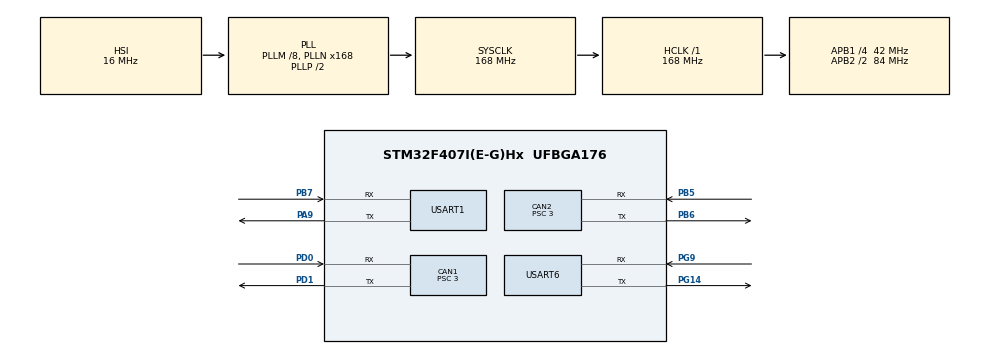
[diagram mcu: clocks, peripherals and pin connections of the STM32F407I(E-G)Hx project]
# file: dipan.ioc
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CAN1.BS1=CAN_BS1_10TQ
CAN1.BS2=CAN_BS2_3TQ
CAN1.CalculateBaudRate=1000000
CAN1.CalculateTimeBit=1000
CAN1.CalculateTimeQuantum=71.42857142857143
CAN1.Prescaler=3
CAN2.BS1=CAN_BS1_10TQ
CAN2.BS2=CAN_BS2_3TQ
CAN2.CalculateBaudRate=1000000
CAN2.CalculateTimeBit=1000
CAN2.CalculateTimeQuantum=71.42857142857143
CAN2.Prescaler=3
FREERTOS.INCLUDE_vTaskDelayUntil=1
FREERTOS.Tasks01=defaultTask,0,128,StartDefaultTask,Default,NULL,Dynamic,NULL,NULL
FREERTOS.configUSE_TIMERS=1
Mcu.Family=STM32F4
Mcu.Name=STM32F407I(E-G)Hx
Mcu.Package=UFBGA176
NVIC.CAN1_RX0_IRQn=true\:5\:0\:false\:false\:true\:true\:true\:true\:true
NVIC.CAN2_RX0_IRQn=true\:5\:0\:false\:false\:true\:true\:true\:true\:true
NVIC.PriorityGroup=NVIC_PRIORITYGROUP_4
NVIC.TIM1_UP_TIM10_IRQn=true\:15\:0\:false\:false\:true\:false\:false\:true\:true
NVIC.TimeBase=TIM1_UP_TIM10_IRQn
NVIC.TimeBaseIP=TIM1
NVIC.USART1_IRQn=true\:5\:0\:true\:false\:true\:true\:true\:true\:true
NVIC.USART6_IRQn=true\:5\:0\:false\:false\:true\:true\:true\:true\:true
PA13.Mode=Serial_Wire
PA13.Signal=SYS_JTMS-SWDIO
PA14.Mode=Serial_Wire
PA14.Signal=SYS_JTCK-SWCLK
PA9.Mode=Asynchronous
PA9.Signal=USART1_TX
PB5.Mode=CAN_Activate
PB5.Signal=CAN2_RX
PB6.Mode=CAN_Activate
PB6.Signal=CAN2_TX
PB7.Mode=Asynchronous
PB7.Signal=USART1_RX
PC14-OSC32_IN.Mode=LSE-External-Oscillator
PC14-OSC32_IN.Signal=RCC_OSC32_IN
PC15-OSC32_OUT.Mode=LSE-External-Oscillator
PC15-OSC32_OUT.Signal=RCC_OSC32_OUT
PD0.Mode=CAN_Activate
PD0.Signal=CAN1_RX
PD1.Mode=CAN_Activate
PD1.Signal=CAN1_TX
PG14.Mode=Asynchronous
PG14.Signal=USART6_TX
PG9.Mode=Asynchronous
PG9.Signal=USART6_RX
PH0-OSC_IN.Mode=HSE-External-Oscillator
PH0-OSC_IN.Signal=RCC_OSC_IN
PH1-OSC_OUT.Mode=HSE-External-Oscillator
PH1-OSC_OUT.Signal=RCC_OSC_OUT
ProjectManager.HeapSize=0x200
ProjectManager.StackSize=0x400
ProjectManager.TargetToolchain=MDK-ARM V5.32
RCC.48MHZClocksFreq_Value=84000000
RCC.AHBFreq_Value=168000000
RCC.APB1CLKDivider=RCC_HCLK_DIV4
RCC.APB1Freq_Value=42000000
RCC.APB1TimFreq_Value=84000000
RCC.APB2CLKDivider=RCC_HCLK_DIV2
RCC.APB2Freq_Value=84000000
RCC.APB2TimFreq_Value=168000000
RCC.CortexFreq_Value=168000000
RCC.HCLKFreq_Value=168000000
RCC.HSE_VALUE=25000000
RCC.HSI_VALUE=16000000
RCC.PLLM=8
RCC.PLLN=168
RCC.SYSCLKFreq_VALUE=168000000
RCC.SYSCLKSource=RCC_SYSCLKSOURCE_PLLCLK
RCC.VCOOutputFreq_Value=336000000
USART1.VirtualMode=VM_ASYNC
USART6.VirtualMode=VM_ASYNC
VP_FREERTOS_VS_CMSIS_V1.Mode=CMSIS_V1
VP_SYS_VS_tim1.Mode=TIM1
board=custom

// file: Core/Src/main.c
/* USER CODE BEGIN Header */
/**
 ******************************************************************************
 * @file           : main.c
 * @brief          : Main program body
 ******************************************************************************
 * @attention
 *
 * Copyright (c) 2024 STMicroelectronics.
 * All rights reserved.
 *
 * This software is licensed under terms that can be found in the LICENSE file
 * in the root directory of this software component.
 * If no LICENSE file comes with this software, it is provided AS-IS.
 *
 ******************************************************************************
 */
/* USER CODE END Header */
#include "main.h"
#include "cmsis_os.h"
#include "can.h"
#include "usart.h"
#include "gpio.h"

/* USER CODE BEGIN Includes */
#include "bsp_can.h"
#include "CAN_receive.h"
#include "mytask.h"
/* USER CODE END Includes */

void SystemClock_Config(void);
void MX_FREERTOS_Init(void);

/* USER CODE BEGIN 0 */
// 在文件开头添加新的变量和队列定义
typedef struct
{
  int16_t x;
  int16_t y;
  int16_t yaw;
} MoveCommand_t;

// 声明消息队列句柄
QueueHandle_t moveCommandQueue;
// 或使用CMSIS-RTOS队列
// osMessageQId moveCommandQueue;

const motor_measure_t *ID_201_data;
uint8_t rxbuff_usart1;
uint8_t rxbuff_usart6;
uint8_t data_usart1[11];
uint8_t data_usart6[10];
uint8_t sum = 0;
uint16_t YawL, YawH;
uint16_t Cam_X_H, Cam_Y_H, Cam_X_L, Cam_Y_L;
uint8_t set_baudrate_115200[] = {0xFF, 0xAA, 0x04, 0x06, 0x00};
uint8_t reset_z_axis[] = {0xFF, 0xAA, 0x76, 0x00, 0x00};

int16_t yaw_pos;

extern float tar_angle;
/**
 * @brief 串口接收完成回调函数
 *
 * 当UART接收完成时，该函数将被调用。函数处理来自USART1和USART6的数据。
 * USART1用于接收姿态传感器数据（可能是IMU/陀螺仪），数据格式为55 53 ... 和校验和
 * USART6用于接收摄像头数据，包括坐标和颜色识别信息
 *
 * @param huart 指向触发回调的UART句柄
 */
extern void HAL_UART_RxCpltCallback(UART_HandleTypeDef *huart)
{
  // 静态变量用于跟踪每个UART接口的数据接收索引位置
  static uint8_t usart1_i = 0; // USART1数据接收计数器
  static uint8_t usart6_i = 0; // USART6数据接收计数器

  // 处理来自USART1的数据（姿态传感器数据）
  if (huart->Instance == USART1)
  {
    // 将接收到的字节存入数据缓冲区
    data_usart1[usart1_i++] = rxbuff_usart1;

    // 帧头第一字节检查 - 必须是0x55
    if (usart1_i == 1)
      if (data_usart1[0] != 0x55)
      {
        data_usart1[0] = 0; // 重置数据
        usart1_i = 0;       // 重置计数器
      }

    // 帧头第二字节检查 - 必须是0x53
    if (usart1_i == 2)
      if (data_usart1[1] != 0x53)
        usart1_i = 0; // 帧头错误，重置计数器

    // 当接收到完整的11字节数据包时，进行处理
    if (usart1_i == 11)
    {
      // 计算前10个字节的校验和
      for (uint8_t i = 0; i < 10; i++)
        sum += data_usart1[i];

      // 校验和验证
      if (sum == data_usart1[10])
      {
        // 提取偏航角数据（Yaw）
        YawL = data_usart1[6];    // Yaw角低字节
        YawH = data_usart1[7];    // Yaw角高字节
        yaw = (YawH << 8 | YawL); // 合并为16位数值
        yaw = yaw / 32768 * 180;  // 转换为角度值（-180到+180度范围）
      }

      // 重置计数器和校验和，准备接收下一个数据包
      usart1_i = 0;
      sum = 0;
    }

    // 继续启用USART1中断接收，等待下一个字节
    HAL_UART_Receive_IT(&huart1, &rxbuff_usart1, 1);
  }

  // 处理来自USART6的数据（摄像头数据）
  if (huart->Instance == USART6)
  {
    // 将接收到的字节存入数据缓冲区
    data_usart6[usart6_i++] = rxbuff_usart6;

    // 帧头检查 - 第一字节必须是0xFF
    if (usart6_i == 1)
    {
      if (data_usart6[0] != 0xFF)
      {
        data_usart6[0] = 0; // 重置数据
        usart6_i = 0;       // 重置计数器
      }
    }

    // 数据类型检查 - 如果第二字节为0x10，放弃该数据包
    if (usart6_i == 3)
    {
      if (data_usart6[1] == 0x10)
      {
        usart6_i = 0; // 重置计数器，放弃此数据包
      }
    }

    // 处理坐标数据 - 当收到完整的10字节且不是颜色序列或特殊数据包
    if (usart6_i == 10)
    {
      if (data_usart6[1] == 0x01)
      {
        if (data_usart6[2] == 0x01) // 位置环
        {
          mode_switch(1); // 切换到位置环控制模式
          // 提取X坐标数据
          // Extract X position values (bytes 3-6)
          uint16_t x_raw = (data_usart6[3] << 8) | data_usart6[4];
          int16_t x_pos = (int16_t)x_raw; // Convert to signed integer if needed

          // Extract Y position values (bytes 5-8)
          uint16_t y_raw = (data_usart6[5] << 8) | data_usart6[6];
          int16_t y_pos = (int16_t)y_raw; // Convert to signed integer if needed

          // Extract yaw position/angle (bytes 7-8)
          uint16_t yaw_raw = (data_usart6[7] << 8) | data_usart6[8];
          yaw_pos += (int16_t)yaw_raw;           // Convert to signed integer if needed
          move_set_interrupt(x_pos, y_pos, yaw_pos, 1); // 设置运动目标
        }
        else if (data_usart6[2] == 0x00) // 速度环
        {
          mode_switch(0); // 切换到速度环控制模式
          // Extract vx values (bytes 3-4)
          uint16_t vx_raw = (data_usart6[3] << 8) | data_usart6[4];
          int16_t vx = (int16_t)vx_raw; // Convert to signed integer if needed

          // Extract vy values (bytes 5-6)
          uint16_t vy_raw = (data_usart6[5] << 8) | data_usart6[6];
          int16_t vy = (int16_t)vy_raw; // Convert to signed integer if needed

          // Extract vyaw values (bytes 7-8)
          uint16_t vyaw_raw = (data_usart6[7] << 8) | data_usart6[8];
          int16_t vyaw = (int16_t)vyaw_raw; // Convert to signed integer if needed

          // Update global control variables
          target_vx = vx;
          target_vy = vy;
          target_vyaw = vyaw;
        }
      }
      else if (data_usart6[1] == 0x02 && data_usart6[2] == 0x01) // 控制机械臂无刷电机
      {
                // Extract high and low bytes for brushless motor control
        uint16_t brushless_h = data_usart6[3];
        uint16_t brushless_l = data_usart6[4];

        // Combine high and low bytes to form target angle
        // First cast to int16_t if you need to handle negative values
        int16_t angle_raw = (int16_t)((brushless_h << 8) | brushless_l);
        tar_angle = (float)angle_raw;  // Explicit conversion to float

        // Apply limits
        if (tar_angle > 500.0f)
        {
           tar_angle = 500.0f;
        }
        else if (tar_angle < 0.0f)
        {
           tar_angle = 0.0f;
        }

        // tar_angle += 5; //测试机械臂极限
      }

      usart6_i = 0; // 重置计数器，准备接收下一个数据包
    }

    // // 处理颜色序列数据 - 当收到完整的10字节且是颜色数据包
    // if(usart6_i == 10 && data_usart6[1] == 0x01 && data_usart6[2] != 0x00)
    // {
    //     // 提取6种颜色的序列数据
    //     color_shunxu[0] = data_usart6[2];
    //     color_shunxu[1] = data_usart6[3];
    //     color_shunxu[2] = data_usart6[4];
    //     color_shunxu[4] = data_usart6[6];  // 注意：索引4和3顺序与数据包中的顺序不同
    //     color_shunxu[3] = data_usart6[5];
    //     color_shunxu[5] = data_usart6[7];

    //     usart6_i = 0;  // 重置计数器，准备接收下一个数据包
    // }

    // 安全检查 - 如果接收的数据超过10字节，重置计数器
    if (usart6_i > 10)
      usart6_i = 0;

    // 继续启用USART6中断接收，等待下一个字节
    HAL_UART_Receive_IT(&huart6, &rxbuff_usart6, 1);
  }
}

/* USER CODE END 0 */

int main(void)
{

  /* MCU Configuration--------------------------------------------------------*/

  /* Reset of all peripherals, Initializes the Flash interface and the Systick. */
  HAL_Init();

  /* Configure the system clock */
  SystemClock_Config();

  /* Initialize all configured peripherals */
  MX_GPIO_Init();
  MX_CAN1_Init();
  MX_CAN2_Init();
  MX_USART1_UART_Init();
  MX_USART6_UART_Init();
  /* USER CODE BEGIN 2 */
  can_filter_init();

  HAL_UART_Transmit(&huart1, reset_z_axis, 5, 50);
  HAL_UART_Receive_IT(&huart1, &rxbuff_usart1, 1);
  HAL_UART_Receive_IT(&huart6, &rxbuff_usart6, 1);
  ID_201_data = get_chassis_motor_measure_point(0);
  /* USER CODE END 2 */

  /* Call init function for freertos objects (in freertos.c) */
  MX_FREERTOS_Init();

  /* Start scheduler */
  osKernelStart();

  /* We should never get here as control is now taken by the scheduler */
  /* Infinite loop */
  while (1)
  {

  }
}

void SystemClock_Config(void)
{
  RCC_OscInitTypeDef RCC_OscInitStruct = {0};
  RCC_ClkInitTypeDef RCC_ClkInitStruct = {0};

  /** Configure the main internal regulator output voltage
   */
  __HAL_RCC_PWR_CLK_ENABLE();
  __HAL_PWR_VOLTAGESCALING_CONFIG(PWR_REGULATOR_VOLTAGE_SCALE1);

  /** Initializes the RCC Oscillators according to the specified parameters
   * in the RCC_OscInitTypeDef structure.
   */
  RCC_OscInitStruct.OscillatorType = RCC_OSCILLATORTYPE_HSI;
  RCC_OscInitStruct.HSIState = RCC_HSI_ON;
  RCC_OscInitStruct.HSICalibrationValue = RCC_HSICALIBRATION_DEFAULT;
  RCC_OscInitStruct.PLL.PLLState = RCC_PLL_ON;
  RCC_OscInitStruct.PLL.PLLSource = RCC_PLLSOURCE_HSI;
  RCC_OscInitStruct.PLL.PLLM = 8;
  RCC_OscInitStruct.PLL.PLLN = 168;
  RCC_OscInitStruct.PLL.PLLP = RCC_PLLP_DIV2;
  RCC_OscInitStruct.PLL.PLLQ = 4;
  if (HAL_RCC_OscConfig(&RCC_OscInitStruct) != HAL_OK)
  {
    Error_Handler();
  }

  /** Initializes the CPU, AHB and APB buses clocks
   */
  RCC_ClkInitStruct.ClockType = RCC_CLOCKTYPE_HCLK | RCC_CLOCKTYPE_SYSCLK | RCC_CLOCKTYPE_PCLK1 | RCC_CLOCKTYPE_PCLK2;
  RCC_ClkInitStruct.SYSCLKSource = RCC_SYSCLKSOURCE_PLLCLK;
  RCC_ClkInitStruct.AHBCLKDivider = RCC_SYSCLK_DIV1;
  RCC_ClkInitStruct.APB1CLKDivider = RCC_HCLK_DIV4;
  RCC_ClkInitStruct.APB2CLKDivider = RCC_HCLK_DIV2;

  if (HAL_RCC_ClockConfig(&RCC_ClkInitStruct, FLASH_LATENCY_5) != HAL_OK)
  {
    Error_Handler();
  }
}

void HAL_TIM_PeriodElapsedCallback(TIM_HandleTypeDef *htim)
{
  if (htim->Instance == TIM1)
  {
    HAL_IncTick();
  }
}

void Error_Handler(void)
{
  __disable_irq();
  while (1)
  {
  }
}

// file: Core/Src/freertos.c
/* USER CODE BEGIN Header */
/**
 ******************************************************************************
 * File Name          : freertos.c
 * Description        : Code for freertos applications
 ******************************************************************************
 * @attention
 *
 * Copyright (c) 2024 STMicroelectronics.
 * All rights reserved.
 *
 * This software is licensed under terms that can be found in the LICENSE file
 * in the root directory of this software component.
 * If no LICENSE file comes with this software, it is provided AS-IS.
 *
 ******************************************************************************
 */
/* USER CODE END Header */

#include "FreeRTOS.h"
#include "task.h"
#include "main.h"
#include "cmsis_os.h"

/* USER CODE BEGIN Includes */
#include "mytask.h"
/* USER CODE END Includes */

/* USER CODE BEGIN PTD */

osThreadId motor_handle;
osThreadId gimbal_handle;
osThreadId main_handle;

/* USER CODE END PTD */

osThreadId defaultTaskHandle;

void StartDefaultTask(void const *argument);

void MX_FREERTOS_Init(void); /* (MISRA C 2004 rule 8.1) */

/* GetIdleTaskMemory prototype (linked to static allocation support) */
void vApplicationGetIdleTaskMemory(StaticTask_t **ppxIdleTaskTCBBuffer, StackType_t **ppxIdleTaskStackBuffer, uint32_t *pulIdleTaskStackSize);

/* GetTimerTaskMemory prototype (linked to static allocation support) */
void vApplicationGetTimerTaskMemory(StaticTask_t **ppxTimerTaskTCBBuffer, StackType_t **ppxTimerTaskStackBuffer, uint32_t *pulTimerTaskStackSize);

/* USER CODE BEGIN GET_IDLE_TASK_MEMORY */
static StaticTask_t xIdleTaskTCBBuffer;
static StackType_t xIdleStack[configMINIMAL_STACK_SIZE];

void vApplicationGetIdleTaskMemory(StaticTask_t **ppxIdleTaskTCBBuffer, StackType_t **ppxIdleTaskStackBuffer, uint32_t *pulIdleTaskStackSize)
{
  *ppxIdleTaskTCBBuffer = &xIdleTaskTCBBuffer;
  *ppxIdleTaskStackBuffer = &xIdleStack[0];
  *pulIdleTaskStackSize = configMINIMAL_STACK_SIZE;
  /* place for user code */
}
/* USER CODE END GET_IDLE_TASK_MEMORY */

/* USER CODE BEGIN GET_TIMER_TASK_MEMORY */
static StaticTask_t xTimerTaskTCBBuffer;
static StackType_t xTimerStack[configTIMER_TASK_STACK_DEPTH];

void vApplicationGetTimerTaskMemory(StaticTask_t **ppxTimerTaskTCBBuffer, StackType_t **ppxTimerTaskStackBuffer, uint32_t *pulTimerTaskStackSize)
{
  *ppxTimerTaskTCBBuffer = &xTimerTaskTCBBuffer;
  *ppxTimerTaskStackBuffer = &xTimerStack[0];
  *pulTimerTaskStackSize = configTIMER_TASK_STACK_DEPTH;
  /* place for user code */
}
/* USER CODE END GET_TIMER_TASK_MEMORY */

void MX_FREERTOS_Init(void)
{

  /* Create the thread(s) */
  /* definition and creation of defaultTask */
  osThreadDef(defaultTask, StartDefaultTask, osPriorityNormal, 0, 128);
  defaultTaskHandle = osThreadCreate(osThread(defaultTask), NULL);

  /* USER CODE BEGIN RTOS_THREADS */
  /* add threads, ... */

  osThreadDef(motor, motor_task, osPriorityHigh, 0, 256);
  motor_handle = osThreadCreate(osThread(motor), NULL);
  osThreadDef(main, main_task, osPriorityNormal, 0, 128);
  main_handle = osThreadCreate(osThread(main), NULL);
  osThreadDef(gimbal, gimbal_task, osPriorityNormal, 0, 128);
  gimbal_handle = osThreadCreate(osThread(gimbal), NULL);

  /* USER CODE END RTOS_THREADS */
}

void StartDefaultTask(void const *argument)
{
  for (;;)
  {
    osDelay(1);
  }
}
